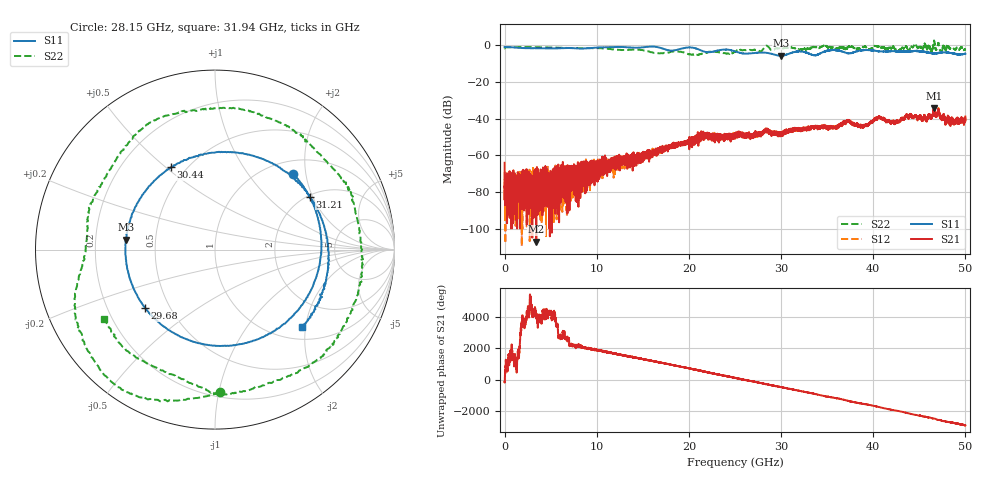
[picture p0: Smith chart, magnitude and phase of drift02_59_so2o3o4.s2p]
!Created with skrf (http://scikit-rf.org).
# Hz S RI R 50.0
!freq ReS11 ImS11 ReS21 ImS21 ReS12 ImS12 ReS22 ImS22
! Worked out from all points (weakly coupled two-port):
!   10001 points, 300 kHz to 50 GHz, reference 50 ohm
!   highest |S21| = -34.32 dB at 46.61 GHz (marker M1); lowest = -106.6 dB at 3.435 GHz (marker M2)
!   lowest |S11| = -6.1 dB at 30.02 GHz (marker M3), VSWR 2.97, Z = 16.9 + j2.5 ohm
!   |S11| at or under -10 dB: nowhere
!   |S22| runs from -5.7 to 2.2 dB; largest |S21 - S12| = 0.0035
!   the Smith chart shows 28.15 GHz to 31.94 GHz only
!   S11 on the Smith chart (normalised r, x): 28.15 GHz: 1.28, +1.70; 29.68 GHz: 0.36, -0.32; 30.44 GHz: 0.41, +0.52; 31.21 GHz: 2.05, +1.91; 31.94 GHz: 1.29, -1.92
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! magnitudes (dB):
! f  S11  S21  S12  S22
! 300 kHz  -1.3  -63.9  -69.0  -2.0
! 310.3 MHz  -1.3  -75.8  -77.4  -1.4
! 3.435 GHz  -2.0  -106.6  -76.3  -1.5
! 3.87 GHz  -2.0  -76.4  -86.6  -1.5
! 8.335 GHz  -2.2  -70.2  -74.1  -1.9
! 16.67 GHz  -1.4  -56.8  -57.9  -4.7
! 21.48 GHz  -3.5  -49.4  -49.1  -4.7
! 25 GHz  -3.7  -49.1  -49.0  -3.9
! 28.15 GHz  -4.3  -46.7  -47.6  -2.0
! 29.68 GHz  -5.9  -49.6  -48.7  -2.1
! 30.02 GHz  -6.1  -48.5  -48.1  -2.0
! 30.44 GHz  -5.7  -47.9  -46.7  -1.7
! 31.21 GHz  -4.4  -45.8  -46.8  -1.7
! 31.94 GHz  -3.7  -46.3  -45.8  -2.8
! 33.34 GHz  -5.5  -44.9  -45.0  -1.6
! 37.27 GHz  -4.7  -41.2  -41.5  -1.5
! 38.9 GHz  -3.1  -43.9  -44.0  -1.3
! 40.57 GHz  -3.6  -39.3  -39.3  -1.0
! 41.67 GHz  -3.6  -41.2  -41.0  -1.9
! 46.61 GHz  -4.7  -34.3  -34.5  2.2
! 48.51 GHz  -4.6  -39.5  -40.6  -1.5
! 50 GHz  -4.9  -38.9  -40.7  -2.6
